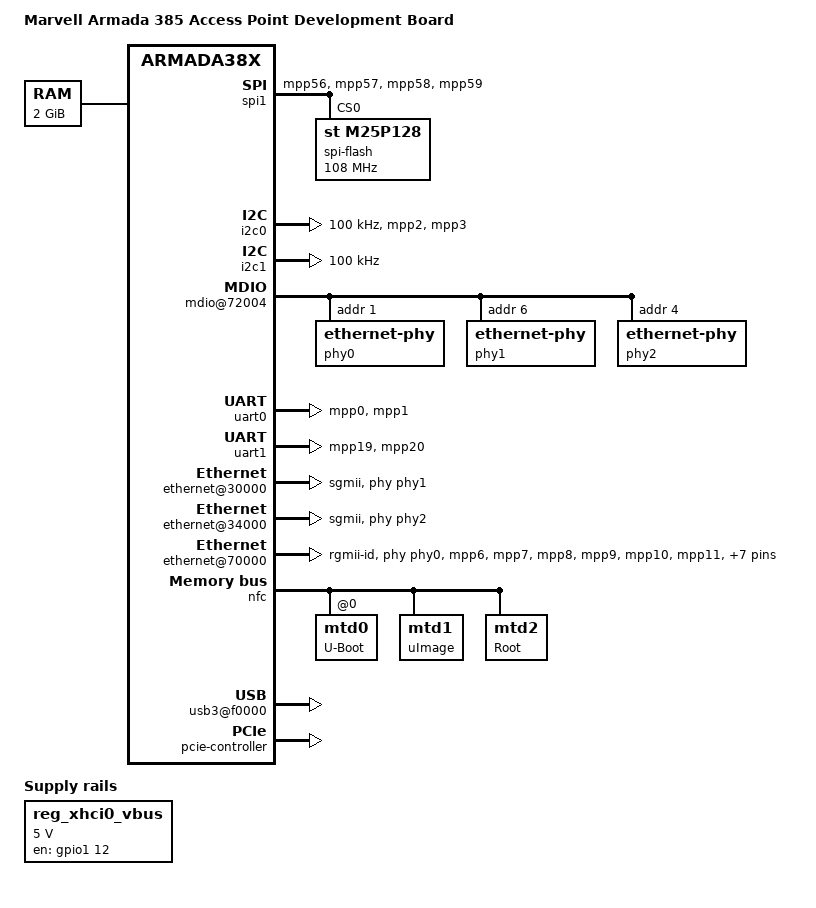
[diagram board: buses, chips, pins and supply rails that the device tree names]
/*
 * Device Tree file for Marvell Armada 385 Access Point Development board
 * (DB-88F6820-AP)
 *
 *  Copyright (C) 2014 Marvell
 *
 * Nadav Haklai <nadavh@marvell.com>
 *
 * This file is licensed under the terms of the GNU General Public
 * License version 2.  This program is licensed "as is" without any
 * warranty of any kind, whether express or implied.
 */

/dts-v1/;
#include "armada-385.dtsi"

#include <dt-bindings/gpio/gpio.h>

/ {
	model = "Marvell Armada 385 Access Point Development Board";
	compatible = "marvell,a385-db-ap", "marvell,armada385", "marvell,armada38x";

	chosen {
		bootargs = "console=ttyS0,115200 earlyprintk";
	};

	memory {
		device_type = "memory";
		reg = <0x00000000 0x80000000>; /* 2GB */
	};

	soc {
		ranges = <MBUS_ID(0xf0, 0x01) 0 0xf1000000 0x100000
			  MBUS_ID(0x01, 0x1d) 0 0xfff00000 0x100000
			  MBUS_ID(0x09, 0x19) 0 0xf1100000 0x10000	/* CESA0: PHYS=0xf1100000
									   size 64K */
			  MBUS_ID(0x09, 0x15) 0 0xf1110000 0x10000>;	/* CESA1: PHYS=0xf1110000
									   size 64K */

		internal-regs {
			spi1: spi@10680 {
				pinctrl-names = "default";
				pinctrl-0 = <&spi1_pins>;
				status = "okay";

				spi-flash@0 {
					#address-cells = <1>;
					#size-cells = <1>;
					compatible = "st,m25p128";
					reg = <0>; /* Chip select 0 */
					spi-max-frequency = <108000000>;
				};
			};

			i2c0: i2c@11000 {
				pinctrl-names = "default";
				pinctrl-0 = <&i2c0_pins>;
				status = "okay";
				clock-frequency = <100000>;
			};

			i2c1: i2c@11100 {
				status = "okay";
				clock-frequency = <100000>;
			};

			mdio@72004 {
				pinctrl-names = <&phy_pins>;

				phy0: ethernet-phy@0 {
					reg = <1>;
				};

				phy1: ethernet-phy@1 {
					reg = <6>;
				};

				phy2: ethernet-phy@2 {
					reg = <4>;
				};
			};

			uart0: serial@12000 {
				pinctrl-names = "default";
				pinctrl-0 = <&uart0_pins>;
				status = "okay";
			};

			uart1: serial@12100 {
				pinctrl-names = "default";
				pinctrl-0 = <&uart1_pins>;
				status = "okay";
			};

			pinctrl@18000 {
				ge0_pins: ge-pins-0 {
					marvell,pins = "mpp6", "mpp7", "mpp8",
						       "mpp9", "mpp10", "mpp11",
						       "mpp12", "mpp13", "mpp14",
						       "mpp15", "mpp16", "mpp17";
					marvell,function = "ge0";
				};

				i2c0_pins: i2c-pins-0 {
					marvell,pins = "mpp2", "mpp3";
					marvell,function = "i2c0";
				};

				nand_pins: nand-pins {
					marvell,pins = "mpp22", "mpp23", "mpp25",
						       "mpp28", "mpp30", "mpp32",
						       "mpp33", "mpp34", "mpp35",
						       "mpp36", "mpp38", "mpp40",
						       "mpp41", "mpp42";
					marvell,function = "nand";
				};

				phy_pins: phy-pins {
					marvell,pins = "mpp4", "mpp5";
					marvell,function = "ge";
				};

				ref_clk0_pins: ref-clk-pins-0 {
					marvell,pins = "mpp45";
					marvell,function = "ref";
				};

				spi1_pins: spi-pins-1 {
					marvell,pins = "mpp56", "mpp57", "mpp58",
						       "mpp59";
					marvell,function = "spi1";
				};

				uart0_pins: uart-pins-0 {
					marvell,pins = "mpp0", "mpp1";
					marvell,function = "ua0";
				};

				uart1_pins: uart-pins-1 {
					marvell,pins = "mpp19", "mpp20";
					marvell,function = "ua1";
				};

				xhci0_vbus_pins: xhci0-vbus-pins {
					marvell,pins = "mpp44";
					marvell,function = "gpio";
				};
			};

			ethernet@30000 {
				status = "okay";
				phy = <&phy1>;
				phy-mode = "sgmii";
			};

			ethernet@34000 {
				status = "okay";
				phy = <&phy2>;
				phy-mode = "sgmii";
			};

			ethernet@70000 {
				pinctrl-names = "default";
				pinctrl-0 = <&ge0_pins>, <&ref_clk0_pins>;
				status = "okay";
				phy = <&phy0>;
				phy-mode = "rgmii-id";
			};

			nfc: flash@d0000 {
				status = "okay";
				#address-cells = <1>;
				#size-cells = <1>;

				num-cs = <1>;
				nand-ecc-strength = <4>;
				nand-ecc-step-size = <512>;
				marvell,nand-keep-config;
				marvell,nand-enable-arbiter;
				nand-on-flash-bbt;

				mtd0@00000000 {
					label = "U-Boot";
					reg = <0x00000000 0x00600000>;
				};

				mtd1@00080000 {
					label = "uImage";
					reg = <0x00600000 0x00400000>;
				};

				mtd2@00140000 {
					label = "Root";
					reg = <0x00a00000 0x3f600000>;
				};
			};

			usb3@f0000 {
				status = "okay";
			};
		};

		pcie-controller {
			status = "okay";
			/*
			 * The two PCIe units are accessible through
			 * standard PCIe slots on the board.
			 */
			pcie@1,0 {
				/* Port 0, Lane 0 */
				status = "okay";
			};

			pcie@2,0 {
				/* Port 1, Lane 0 */
				status = "okay";
			};

			pcie@3,0 {
				/* Port 2, Lane 0 */
				status = "okay";
			};
		};
	};

	reg_xhci0_vbus: xhci0-vbus {
		compatible = "regulator-fixed";
		pinctrl-names = "default";
		pinctrl-0 = <&xhci0_vbus_pins>;
		regulator-name = "xhci0-vbus";
		regulator-min-microvolt = <5000000>;
		regulator-max-microvolt = <5000000>;
		enable-active-high;
		regulator-always-on;
		gpio = <&gpio1 12 GPIO_ACTIVE_HIGH>;
	};
};
